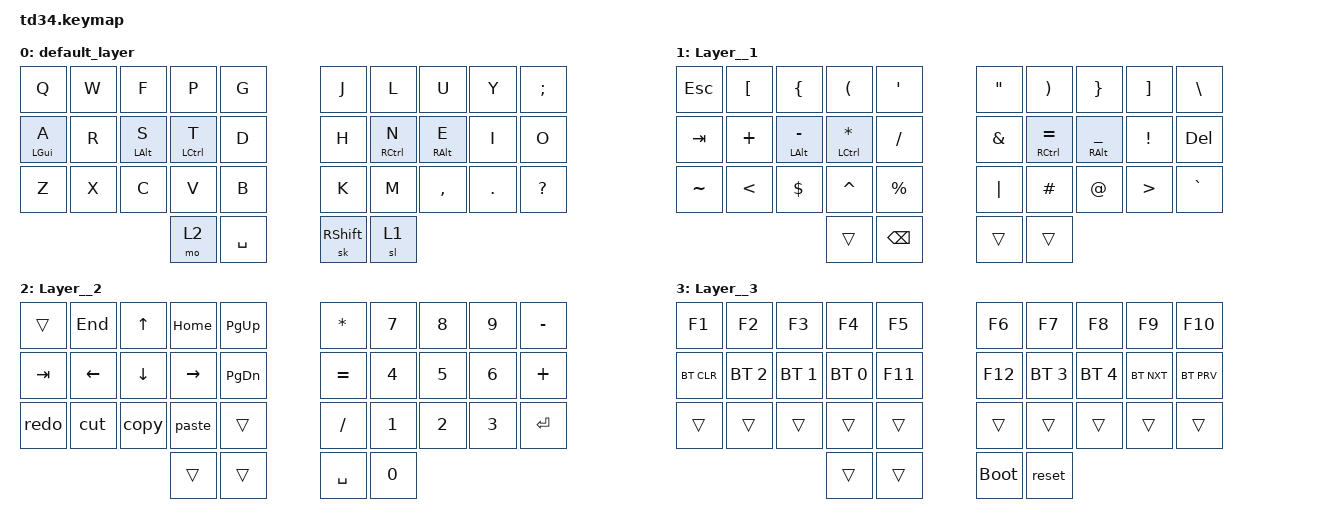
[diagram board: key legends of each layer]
#include <behaviors.dtsi>
#include <dt-bindings/zmk/keys.h>
#include <dt-bindings/zmk/bt.h>
 
/ {    
    &mt {
        tapping-term-ms = <400>;
        flavor = "tap-preferred";
        quick-tap-ms = <200>;
        global-quick-tap;
    };

    combos {
        compatible = "zmk,combos";

        Fkey_combo {
            bindings = <&mo 3>;
            key-positions = <30 31>;
        };

        enter_combo {
            bindings = <&kp ENTER>;
            key-positions = <13 16>;
        };

        tab_combo {
            bindings = <&kp TAB>;
            key-positions = <14 15>;
        };

        prtsc_combo {
            bindings = <&kp PRINTSCREEN>;
            key-positions = <5 4>;
        };

        del_combo {
            bindings = <&kp DELETE>;
            key-positions = <24 25>;
        };
    };

    keymap {
        compatible = "zmk,keymap";

        default_layer {
            bindings = <
          &kp Q   &kp W           &kp F               &kp P      &kp G                    &kp J                &kp L            &kp U    &kp Y  &kp SEMICOLON
 &mt LEFT_GUI A   &kp R  &mt LEFT_ALT S  &mt LEFT_CONTROL T      &kp D                    &kp H  &mt RIGHT_CONTROL N  &mt RIGHT_ALT E    &kp I          &kp O
          &kp Z   &kp X           &kp C               &kp V      &kp B                    &kp K                &kp M        &kp COMMA  &kp DOT   &kp QUESTION
                                                      &mo 2  &kp SPACE          &sk RIGHT_SHIFT                &sl 1
            >;
        };

        Layer__1 {
            bindings = <
   &kp ESC  &kp LEFT_BRACKET      &kp LEFT_BRACE   &kp LEFT_PARENTHESIS  &kp SINGLE_QUOTE          &kp DOUBLE_QUOTES  &kp RIGHT_PARENTHESIS      &kp RIGHT_BRACE  &kp RIGHT_BRACKET  &kp BACKSLASH
   &kp TAB          &kp PLUS  &mt LEFT_ALT MINUS  &mt LEFT_CONTROL STAR         &kp SLASH              &kp AMPERSAND        &mt RCTRL EQUAL  &mt RALT UNDERSCORE           &kp EXCL     &kp DELETE
 &kp TILDE            &kp LT          &kp DOLLAR              &kp CARET       &kp PERCENT                   &kp PIPE               &kp HASH          &kp AT_SIGN             &kp GT      &kp GRAVE
                                                                 &trans     &kp BACKSPACE                     &trans                 &trans
            >;
        };

        Layer__2 {
            bindings = <
 &trans   &kp END    &kp UP   &kp HOME    &kp PAGE_UP           &kp STAR  &kp NUMBER_7  &kp NUMBER_8  &kp NUMBER_9  &kp MINUS
 &kp TAB  &kp LEFT  &kp DOWN  &kp RIGHT  &kp PAGE_DOWN          &kp EQUAL  &kp NUMBER_4  &kp NUMBER_5  &kp NUMBER_6   &kp PLUS
 &redo    &cut    &copy     &paste         &trans          &kp SLASH  &kp NUMBER_1  &kp NUMBER_2  &kp NUMBER_3  &kp ENTER
                                &trans         &trans          &kp SPACE  &kp NUMBER_0
            >;
        };

        Layer__3 {
            bindings = <
     &kp F1        &kp F2        &kp F3        &kp F4   &kp F5               &kp F6        &kp F7        &kp F8      &kp F9     &kp F10
 &bt BT_CLR  &bt BT_SEL 2  &bt BT_SEL 1  &bt BT_SEL 0  &kp F11              &kp F12  &bt BT_SEL 3  &bt BT_SEL 4  &bt BT_NXT  &bt BT_PRV
     &trans        &trans        &trans        &trans   &trans               &trans        &trans        &trans      &trans      &trans
                                               &trans   &trans          &bootloader        &reset
            >;
        };
    };
};
